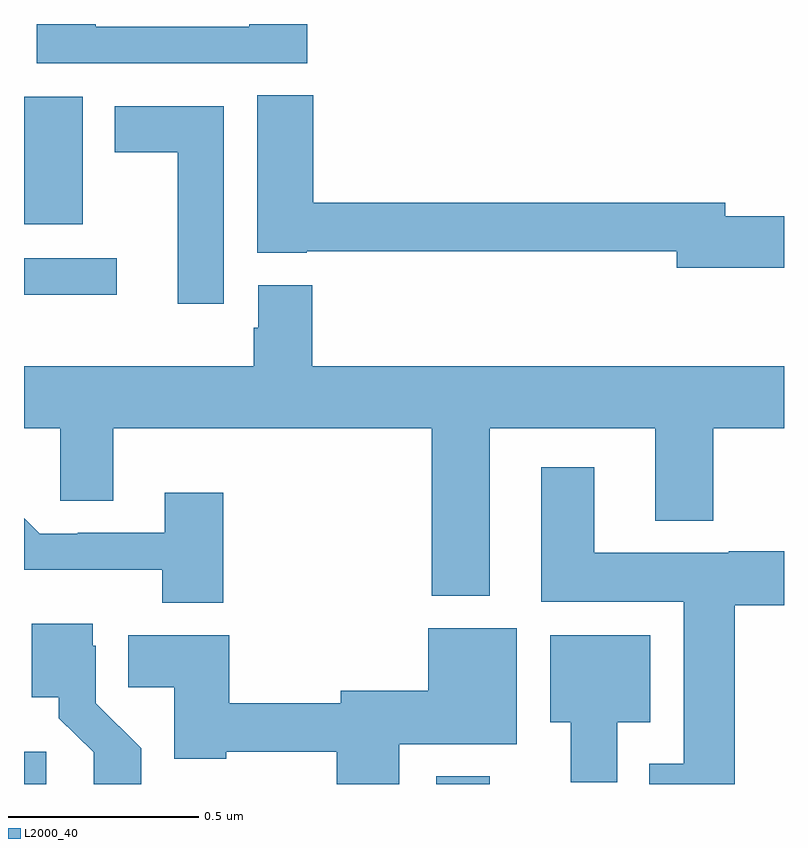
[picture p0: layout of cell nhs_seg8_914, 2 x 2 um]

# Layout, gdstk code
import gdstk
lib = gdstk.Library(unit=1e-6, precision=1e-09)
def R(c, l, rs):  # rectangles x0, y0, x1, y1
    for r in rs: c.add(gdstk.rectangle(r[:2], r[2:], *l))
def P(c, l, *ps):  # polygons
    for p in ps: c.add(gdstk.Polygon(p, *l))
L2000_40 = (2000, 40)

nhs_seg8_914 = lib.new_cell('nhs_seg8_914')
R(nhs_seg8_914, L2000_40, [(123,1112.9,123.058,1112.985), (124.085,1112.9,124.225,1112.92), (123,1114.187,123.244,1114.284), (123,1114.373,123.154,1114.708)])
P(nhs_seg8_914, L2000_40, [(123.746,1114.9),(123.593,1114.9),(123.593,1114.893),(123.189,1114.893),(123.189,1114.9),(123.033,1114.9),(123.033,1114.797),(123.746,1114.797)],
  [(125,1114.394),(124.846,1114.394),(124.846,1114.43),(123.761,1114.43),(123.761,1114.712),(123.614,1114.712),(123.614,1114.298),(123.744,1114.298),(123.744,1114.302),(124.718,1114.302),(124.718,1114.259),(125,1114.259)],
  [(123.526,1114.684),(123.239,1114.684),(123.239,1114.562),(123.404,1114.562),(123.404,1114.164),(123.526,1114.164)],
  [(124.073,1113.395),(124.225,1113.395),(124.225,1113.836),(124.661,1113.836),(124.661,1113.593),(124.814,1113.593),(124.814,1113.836),(125,1113.836),(125,1114),(123.758,1114),(123.758,1114.213),(123.617,1114.213),(123.617,1114.101),(123.605,1114.101),(123.605,1114),(123,1114),(123,1113.836),(123.096,1113.836),(123.096,1113.646),(123.235,1113.646),(123.235,1113.836),(124.073,1113.836)],
  [(124.871,1113.371),(125,1113.371),(125,1113.513),(124.854,1113.513),(124.854,1113.508),(124.501,1113.508),(124.501,1113.733),(124.361,1113.733),(124.361,1113.38),(124.736,1113.38),(124.736,1112.953),(124.646,1112.953),(124.646,1112.9),(124.871,1112.9)],
  [(123.524,1113.667),(123.371,1113.667),(123.371,1113.561),(123.142,1113.561),(123.142,1113.558),(123.042,1113.558),(123,1113.6),(123,1113.464),(123.364,1113.464),(123.364,1113.377),(123.524,1113.377)],
  [(123.308,1112.994),(123.189,1113.113),(123.189,1113.264),(123.181,1113.264),(123.181,1113.322),(123.02,1113.322),(123.02,1113.128),(123.092,1113.128),(123.092,1113.073),(123.183,1112.983),(123.183,1112.9),(123.308,1112.9)],
  [(123.988,1113.005),(124.297,1113.005),(124.297,1113.31),(124.064,1113.31),(124.064,1113.146),(123.834,1113.146),(123.834,1113.113),(123.54,1113.113),(123.54,1113.292),(123.274,1113.292),(123.274,1113.154),(123.395,1113.154),(123.395,1112.966),(123.532,1112.966),(123.532,1112.985),(123.823,1112.985),(123.823,1112.9),(123.988,1112.9)],
  [(124.561,1113.062),(124.648,1113.062),(124.648,1113.292),(124.385,1113.292),(124.385,1113.062),(124.439,1113.062),(124.439,1112.904),(124.561,1112.904)])

lib.write_gds('nhs_seg8_914.gds')
